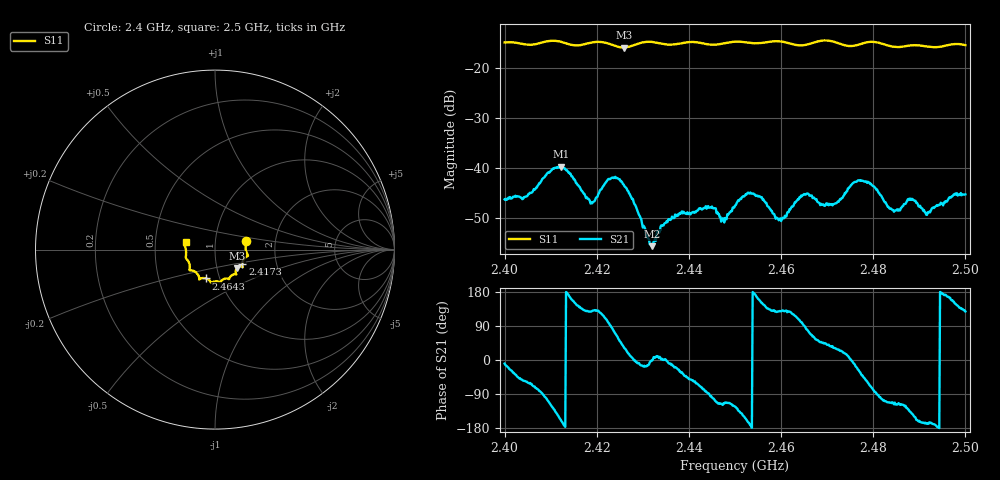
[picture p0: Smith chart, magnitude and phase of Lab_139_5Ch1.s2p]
# Hz S RI R 50
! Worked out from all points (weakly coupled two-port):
!   601 points, 2.4 GHz to 2.5 GHz, reference 50 ohm
!   highest |S21| = -39.78 dB at 2.4122 GHz (marker M1); lowest = -55.7 dB at 2.432 GHz (marker M2)
!   lowest |S11| = -15.9 dB at 2.4258 GHz (marker M3), VSWR 1.38, Z = 62.3 - j13.2 ohm
!   |S11| at or under -10 dB: start of sweep to end of sweep
!   S12 and S22 are empty: the file has one direction only
!   S11 on the Smith chart (normalised r, x): 2.4 GHz: 1.41, +0.14; 2.4173 GHz: 1.34, -0.23; 2.4643 GHz: 0.86, -0.28; 2.5 GHz: 0.72, +0.06
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2.4e9  0.173 0.0495  0.00477 -0.000794  0 0  0 0
2.412167e9  0.1789 -0.0379  -0.00947 -0.00395  0 0  0 0
2.416667e9  0.1528 -0.0744  -0.00426 0.00412  0 0  0 0
2.417333e9  0.1522 -0.0818  -0.00358 0.00415  0 0  0 0
2.4235e9  0.1414 -0.0936  0.0013 0.00788  0 0  0 0
2.425833e9  0.1219 -0.1036  0.00559 0.00386  0 0  0 0
2.432e9  0.1184 -0.1385  0.00164 -4.8e-05  0 0  0 0
2.433333e9  0.113 -0.1371  0.0023 0.000378  0 0  0 0
2.438333e9  0.0817 -0.156  0.00296 -0.002  0 0  0 0
2.444667e9  0.0584 -0.161  -0.000406 -0.00399  0 0  0 0
2.4475e9  0.038 -0.1717  -0.00126 -0.00283  0 0  0 0
2.45e9  0.0294 -0.181  -0.00227 -0.00351  0 0  0 0
2.453833e9  0.0116 -0.1766  -0.00553 5.7e-05  0 0  0 0
2.46e9  -0.0236 -0.1824  -0.00182 0.0023  0 0  0 0
2.464333e9  -0.05 -0.1605  -0.000897 0.00519  0 0  0 0
2.466667e9  -0.0758 -0.1598  0.00214 0.00484  0 0  0 0
2.471667e9  -0.0875 -0.1592  0.00372 0.00231  0 0  0 0
2.477333e9  -0.1298 -0.1161  0.00604 -0.00444  0 0  0 0
2.483333e9  -0.1408 -0.0898  -0.00151 -0.00377  0 0  0 0
2.488333e9  -0.1611 -0.049  -0.00371 -0.00302  0 0  0 0
2.491833e9  -0.1612 -0.0269  -0.00349 -0.000826  0 0  0 0
2.5e9  -0.1638 0.0422  -0.00335 0.00425  0 0  0 0
